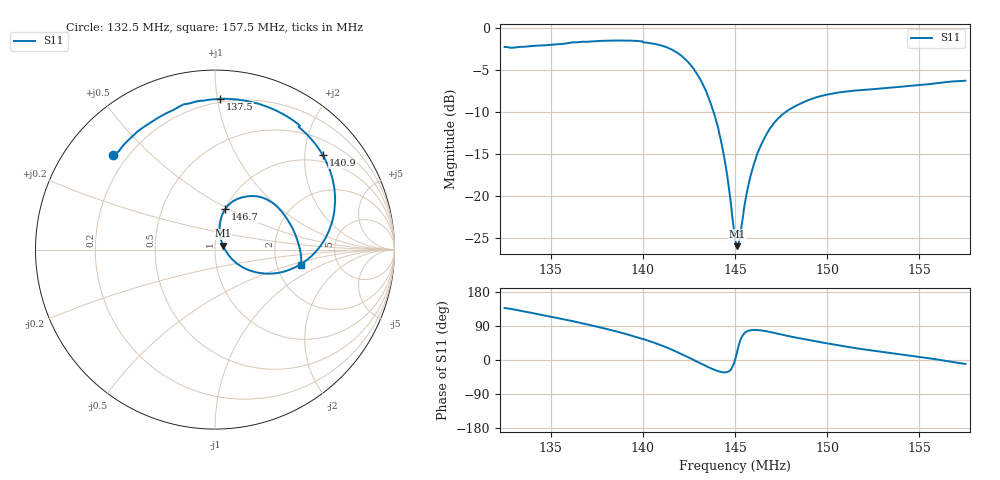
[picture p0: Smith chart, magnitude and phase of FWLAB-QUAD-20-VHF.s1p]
! NanoVNA-App
! Date: 2025-10-15 16:43:16
! Start: 132,5MHz Stop: 157,5MHz Points: 1024
! S-Parameter data: F S11
# Hz S RI R 50
!  Frequency  S11_Real  S11_Imag
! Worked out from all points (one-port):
!   1024 points, 132.5 MHz to 157.5 MHz, reference 50 ohm
!   lowest |S11| = -26.0 dB at 145.1 MHz (marker M1), VSWR 1.11, Z = 54.6 + j2.4 ohm
!   |S11| at or under -10 dB: 143.8 MHz to 147.7 MHz (3.897 MHz wide, 2.67 % of centre)
!   S11 on the Smith chart (normalised r, x): 132.5 MHz: 0.15, +0.39; 137.5 MHz: 0.18, +1.02; 140.9 MHz: 0.83, +2.41; 146.7 MHz: 1.00, +0.48; 157.5 MHz: 2.73, -0.63
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1.325e8  -0.5678 0.5272
1.34064e8  -0.4327 0.6573
1.356281e8  -0.2509 0.7687
1.374853e8  0.0268 0.8397
1.387561e8  0.2501 0.8099
1.398558e8  0.4516 0.7078
1.408578e8  0.6007 0.5263
1.418842e8  0.6683 0.2508
1.424462e8  0.6257 0.0843
1.429839e8  0.5221 -0.0497
1.434238e8  0.4077 -0.1147
1.438392e8  0.2875 -0.1338
1.441325e8  0.2063 -0.1206
1.444501e8  0.136 -0.0868
1.446701e8  0.0971 -0.0553
1.450122e8  0.0543 0.00147
1.451344e8  0.0449 0.0219
1.452566e8  0.0378 0.0414
1.455987e8  0.0272 0.0951
1.45892e8  0.027 0.1347
1.46283e8  0.0367 0.1828
1.466984e8  0.0564 0.2255
1.473094e8  0.1003 0.2698
1.481403e8  0.1646 0.2938
1.494844e8  0.258 0.2916
1.512683e8  0.3529 0.2325
1.543964e8  0.4425 0.0939
1.575e8  0.479 -0.0882
